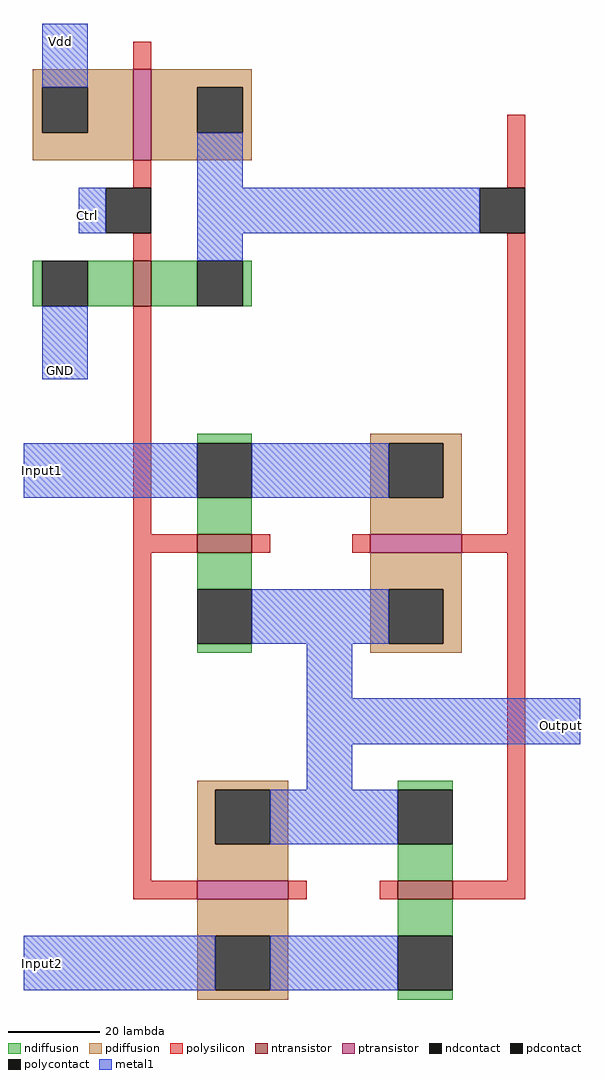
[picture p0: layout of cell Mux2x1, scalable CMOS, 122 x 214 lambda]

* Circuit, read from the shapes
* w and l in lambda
.subckt Mux2x1 Ctrl GND Input1 Input2 Output Vdd
M1 n1 Ctrl GND VSUBS nfet w=10 l=4
M2 Input1 Ctrl Output VSUBS nfet w=12 l=4
M3 Output n1 Input2 VSUBS nfet w=12 l=4
M4 n1 Ctrl Vdd NWELL pfet w=20 l=4
M5 Output Ctrl Input2 NWELL pfet w=20 l=4
M6 Input1 n1 Output NWELL pfet w=20 l=4
.ends

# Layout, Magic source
magic
tech scmos
<< polysilicon >>
rect 8 84 12 90
rect 8 58 12 64
rect 90 58 94 74
rect 8 42 12 48
rect 8 -18 12 32
rect 90 -18 94 48
rect 8 -22 22 -18
rect 34 -22 38 -18
rect 56 -22 60 -18
rect 80 -22 94 -18
rect 8 -94 12 -22
rect 90 -94 94 -22
rect 8 -98 22 -94
rect 42 -98 46 -94
rect 62 -98 66 -94
rect 78 -98 94 -94
<< ndiffusion >>
rect -14 32 -12 42
rect -2 32 8 42
rect 12 32 22 42
rect 32 32 34 42
rect 22 2 34 4
rect 22 -18 34 -10
rect 22 -30 34 -22
rect 22 -44 34 -42
rect 66 -74 78 -72
rect 66 -94 78 -86
rect 66 -106 78 -98
rect 66 -120 78 -118
<< pdiffusion >>
rect -14 80 8 84
rect -14 70 -12 80
rect -2 70 8 80
rect -14 64 8 70
rect 12 80 34 84
rect 12 70 22 80
rect 32 70 34 80
rect 12 64 34 70
rect 60 2 80 4
rect 60 -10 64 2
rect 76 -10 80 2
rect 60 -18 80 -10
rect 60 -30 80 -22
rect 60 -42 64 -30
rect 76 -42 80 -30
rect 60 -44 80 -42
rect 22 -74 42 -72
rect 22 -86 26 -74
rect 38 -86 42 -74
rect 22 -94 42 -86
rect 22 -106 42 -98
rect 22 -118 26 -106
rect 38 -118 42 -106
rect 22 -120 42 -118
<< metal1 >>
rect -12 80 -2 94
rect 22 58 32 70
rect -4 48 2 58
rect 22 48 84 58
rect 22 42 32 48
rect -12 16 -2 32
rect -16 -10 22 2
rect 34 -10 64 2
rect 34 -42 64 -30
rect 46 -54 56 -42
rect 46 -64 106 -54
rect 46 -74 56 -64
rect 38 -86 66 -74
rect -16 -118 26 -106
rect 38 -118 66 -106
<< ntransistor >>
rect 8 32 12 42
rect 22 -22 34 -18
rect 66 -98 78 -94
<< ptransistor >>
rect 8 64 12 84
rect 60 -22 80 -18
rect 22 -98 42 -94
<< polycontact >>
rect 2 48 12 58
rect 84 48 94 58
<< ndcontact >>
rect -12 32 -2 42
rect 22 32 32 42
rect 22 -10 34 2
rect 22 -42 34 -30
rect 66 -86 78 -74
rect 66 -118 78 -106
<< pdcontact >>
rect -12 70 -2 80
rect 22 70 32 80
rect 64 -10 76 2
rect 64 -42 76 -30
rect 26 -86 38 -74
rect 26 -118 38 -106
<< labels >>
rlabel metal1 -8 90 -8 90 5 Vdd
rlabel metal1 -8 18 -8 18 1 GND
rlabel metal1 -2 52 -2 52 1 Ctrl
rlabel metal1 -12 -4 -12 -4 3 Input1
rlabel metal1 -12 -112 -12 -112 3 Input2
rlabel metal1 102 -60 102 -60 7 Output
<< end >>
